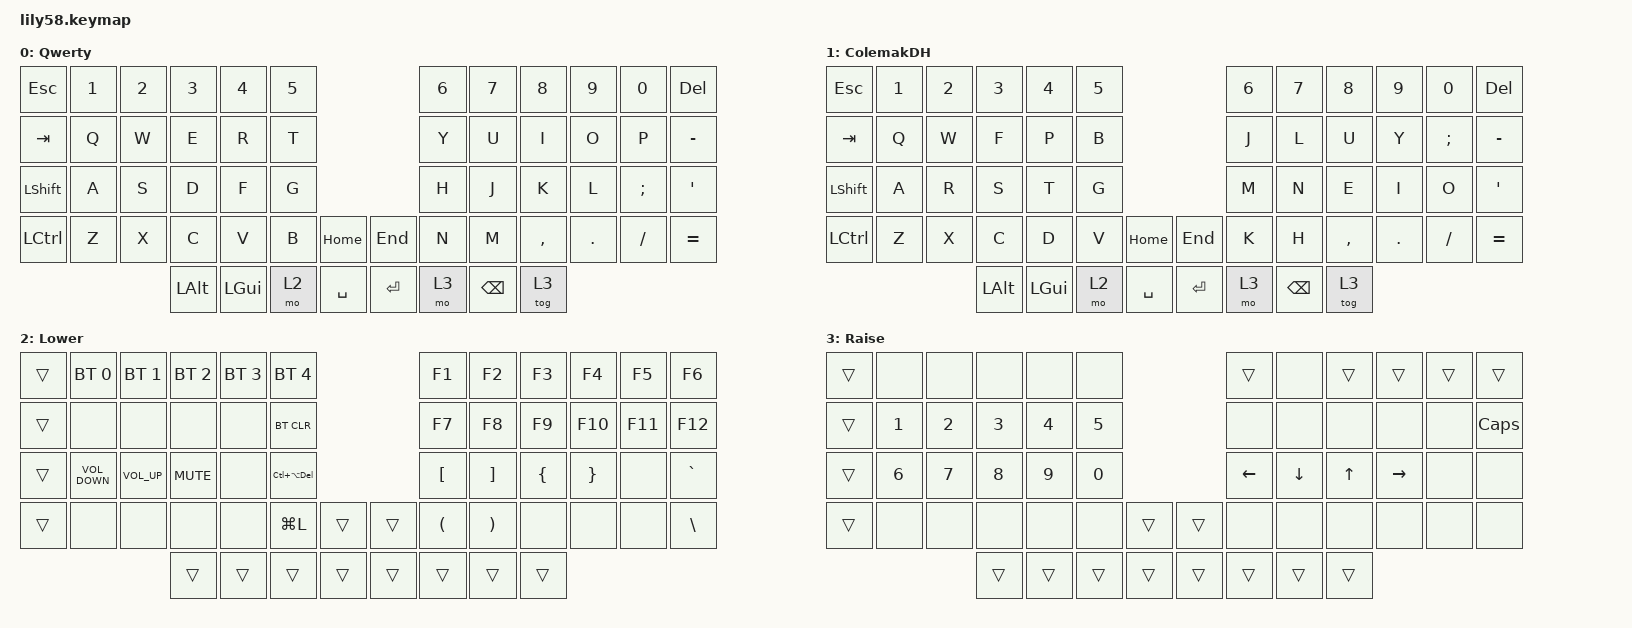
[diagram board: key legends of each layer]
/*
 * Copyright (c) 2020 The ZMK Contributors
 *
 * SPDX-License-Identifier: MIT
 */

#include <behaviors.dtsi>
#include <dt-bindings/zmk/bt.h>
#include <dt-bindings/zmk/keys.h>

/ {
    combos {
        compatible = "zmk,combos";

        Colemak_Switch {
            bindings = <&to 0>;
            key-positions = <0 11>;
            layers = <1>;
        };

        qwerty_switch {
            bindings = <&to 1>;
            key-positions = <0 11>;
            layers = <0>;
        };
    };

    macros {
    };

    keymap {
        compatible = "zmk,keymap";

        qwerty {
            display-name = "Qwerty";
            bindings = <
&kp ESC           &kp N1  &kp N2  &kp N3    &kp N4    &kp N5                        &kp N6  &kp N7    &kp N8     &kp N9   &kp N0    &kp DEL
&kp TAB           &kp Q   &kp W   &kp E     &kp R     &kp T                         &kp Y   &kp U     &kp I      &kp O    &kp P     &kp MINUS
&kp LEFT_SHIFT    &kp A   &kp S   &kp D     &kp F     &kp G                         &kp H   &kp J     &kp K      &kp L    &kp SEMI  &kp SQT
&kp LEFT_CONTROL  &kp Z   &kp X   &kp C     &kp V     &kp B   &kp HOME     &kp END  &kp N   &kp M     &kp COMMA  &kp DOT  &kp FSLH  &kp EQUAL
                                  &kp LALT  &kp LGUI  &mo 2   &kp SPACE    &kp RET  &mo 3   &kp BSPC  &tog 3
            >;
        };

        colemak {
            // ------------------------------------------------------------------------------------------------------------
            // |  ESC  |  1  |  2  |  3   |  4   |  5   |                   |  6   |  7    |  8    |  9   |   0   |   `   |
            // |  TAB  |  Q  |  W  |  E   |  R   |  T   |                   |  Y   |  U    |  I    |  O   |   P   |   -   |
            // |  CTRL |  A  |  S  |  D   |  F   |  G   |                   |  H   |  J    |  K    |  L   |   ;   |   '   |
            // | SHIFT |  Z  |  X  |  C   |  V   |  B   |   "["  |  |  "]"  |  N   |  M    |  ,    |  .   |   /   | SHIFT |
            //                     | ALT  | GUI  | LOWER|  SPACE |  | ENTER | RAISE| BSPC  | GUI   |
            
            display-name = "ColemakDH";
            bindings = <
&kp ESC           &kp N1  &kp N2  &kp N3    &kp N4    &kp N5                        &kp N6  &kp N7    &kp N8     &kp N9   &kp N0         &kp DELETE
&kp TAB           &kp Q   &kp W   &kp F     &kp P     &kp B                         &kp J   &kp L     &kp U      &kp Y    &kp SEMICOLON  &kp MINUS
&kp LEFT_SHIFT    &kp A   &kp R   &kp S     &kp T     &kp G                         &kp M   &kp N     &kp E      &kp I    &kp O          &kp SQT
&kp LEFT_CONTROL  &kp Z   &kp X   &kp C     &kp D     &kp V   &kp HOME     &kp END  &kp K   &kp H     &kp COMMA  &kp DOT  &kp FSLH       &kp EQUAL
                                  &kp LALT  &kp LGUI  &mo 2   &kp SPACE    &kp RET  &mo 3   &kp BSPC  &tog 3
            >;
        };

        lower_layer {
            // ------------------------------------------------------------------------------------------------------------
            // | BTCLR | BT1 | BT2 |  BT3 |  BT4 |  BT5 |                   |      |       |       |      |       |       |
            // |  F1   |  F2 |  F3 |  F4  |  F5  |  F6  |                   |  F7  |  F8   |  F9   |  F10 |  F11  |  F12  |
            // |   `   |  !  |  @  |  #   |  $   |  %   |                   |  ^   |  &    |  *    |  (   |   )   |   ~   |
            // |       |     |     |      |      |      |        |  |       |      |  _    |  +    |  {   |   }   |  "|"  |
            //                     |      |      |      |        |  |       |      |       |       |
            
            display-name = "Lower";
            bindings = <
&trans  &bt BT_SEL 0       &bt BT_SEL 1     &bt BT_SEL 2  &bt BT_SEL 3  &bt BT_SEL 4                          &kp F1                &kp F2                 &kp F3          &kp F4           &kp F5   &kp F6
&trans  &none              &none            &none         &none         &bt BT_CLR                            &kp F7                &kp F8                 &kp F9          &kp F10          &kp F11  &kp F12
&trans  &kp C_VOLUME_DOWN  &kp C_VOLUME_UP  &kp K_MUTE    &none         &kp LC(LA(DELETE))                    &kp LEFT_BRACKET      &kp RIGHT_BRACKET      &kp LEFT_BRACE  &kp RIGHT_BRACE  &none    &kp GRAVE
&trans  &none              &none            &none         &none         &kp LG(L)           &trans    &trans  &kp LEFT_PARENTHESIS  &kp RIGHT_PARENTHESIS  &none           &none            &none    &kp BACKSLASH
                                            &trans        &trans        &trans              &trans    &trans  &trans                &trans                 &trans
            >;
        };

        raise_layer {
            // ------------------------------------------------------------------------------------------------------------
            // |       |     |     |      |      |      |                   |      |       |       |      |       |       |
            // |   `   |  1  |  2  |  3   |  4   |  5   |                   |  6   |   7   |   8   |  9   |   0   |       |
            // |   F1  |  F2 |  F3 |  F4  |  F5  |  F6  |                   |      |   <-  |   v   |  ^   |  ->   |       |
            // |   F7  |  F8 |  F9 |  F10 |  F11 |  F12 |        |  |       |  +   |   -   |   =   |  [   |   ]   |   \   |
            //                     |      |      |      |        |  |       |      |       |       |
            
            display-name = "Raise";
            bindings = <
&trans  &none         &none         &none         &none         &none                           &trans          &none           &trans        &trans           &trans  &trans
&trans  &kp NUMBER_1  &kp NUMBER_2  &kp NUMBER_3  &kp NUMBER_4  &kp N5                          &none           &none           &none         &none            &none   &kp CAPSLOCK
&trans  &kp NUMBER_6  &kp NUMBER_7  &kp NUMBER_8  &kp NUMBER_9  &kp NUMBER_0                    &kp LEFT_ARROW  &kp DOWN_ARROW  &kp UP_ARROW  &kp RIGHT_ARROW  &none   &none
&trans  &none         &none         &none         &none         &none         &trans    &trans  &none           &none           &none         &none            &none   &none
                                    &trans        &trans        &trans        &trans    &trans  &trans          &trans          &trans
            >;
        };
    };
};
